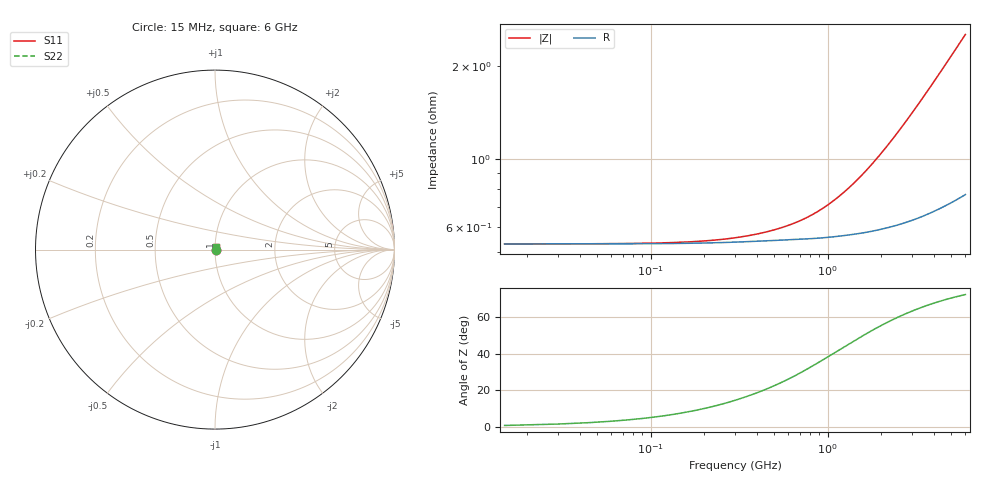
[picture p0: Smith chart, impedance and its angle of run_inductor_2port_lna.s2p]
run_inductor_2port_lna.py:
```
import os
import sys
sys.path.insert(0, os.path.abspath(os.path.join(os.path.dirname(__file__), 'modules')))

import modules.util_stackup_reader as stackup_reader
import modules.util_gds_reader as gds_reader
import modules.util_utilities as utilities
import modules.util_simulation_setup as simulation_setup
import modules.util_meshlines as util_meshlines

from openEMS import openEMS
import numpy as np
import matplotlib.pyplot as plt

# Model comments
# Simple inductor model, 2 port model with two via ports to substrate, full two port simulation


# ======================== workflow settings ================================

# preview model/mesh only?
# postprocess existing data without re-running simulation?
preview_only = False
postprocess_only = False

# ===================== input files and path settings =======================

gds_filename = "/home/ic_design_trg/lna_ihp/klayout/ind_turn3_dia100_w5_s1.gds"      # geometries
XML_filename = "SG13G2.xml"               # stackup

# preprocess GDSII for safe handling of cutouts/holes?
preprocess_gds = False

# merge via polygons with distance less than .. um, set 0 to disable via merging
merge_polygon_size = 1.0

# get path for this simulation file
script_path = utilities.get_script_path(__file__)

# use script filename as model basename
model_basename = utilities.get_basename(__file__)

# set and create directory for simulation output
sim_path = utilities.create_sim_path (script_path,model_basename)
print('Simulation data directory: ', sim_path)

# change current path to model script path
os.chdir(os.path.dirname(os.path.abspath(__file__)))


# ======================== simulation settings ================================

unit   = 1e-6   # geometry is in microns
margin = 200    # distance in microns from GDSII geometry boundary to simulation boundary 

fstart = 0
fstop  = 6e9
numfreq = 401

refined_cellsize = 1.0  # mesh cell size in conductor region

# choices for boundary: 
# 'PEC' : perfect electric conductor (default)
# 'PMC' : perfect magnetic conductor, useful for symmetries
# 'MUR' : simple MUR absorbing boundary conditions
# 'PML_8' : PML absorbing boundary conditions
Boundaries = ['PEC', 'PEC', 'PEC', 'PEC', 'PEC', 'PEC']

cells_per_wavelength = 20   # how many mesh cells per wavelength, must be 10 or more
energy_limit = -50          # end criteria for residual energy (dB)

# ports from GDSII Data, polygon geometry from specified special layer
# note that for multiport simulation, excitations are switched on/off in simulation_setup.createSimulation below
simulation_ports = simulation_setup.all_simulation_ports()
# instead of in-plane port specified with target_layername, we here use via port specified with from_layername and to_layername
simulation_ports.add_port(simulation_setup.simulation_port(portnumber=1, voltage=1, port_Z0=50, source_layernum=201, from_layername='SUBGND', to_layername='TopMetal1', direction='z'))
simulation_ports.add_port(simulation_setup.simulation_port(portnumber=2, voltage=1, port_Z0=50, source_layernum=202, from_layername='SUBGND', to_layername='TopMetal1', direction='z'))

# ======================== simulation ================================

# get technology stackup data
materials_list, dielectrics_list, metals_list = stackup_reader.read_substrate (XML_filename)
# get list of layers from technology
layernumbers = metals_list.getlayernumbers()
layernumbers.extend(simulation_ports.portlayers)

# read geometries from GDSII, only purpose 0
allpolygons = gds_reader.read_gds(gds_filename, layernumbers, purposelist=[0], metals_list=metals_list, preprocess=preprocess_gds, merge_polygon_size=merge_polygon_size)


# calculate maximum cellsize from wavelength in dielectric
wavelength_air = 3e8/fstop / unit
max_cellsize = (wavelength_air)/(np.sqrt(materials_list.eps_max)*cells_per_wavelength) 


########### create model, run and post-process ###########

FDTD = openEMS(EndCriteria=np.exp(energy_limit/10 * np.log(10)))
FDTD.SetGaussExcite( (fstart+fstop)/2, (fstop-fstart)/2 )
FDTD.SetBoundaryCond( Boundaries )


# Create simulation for port 1 and 2 excitation, return value is list of data paths, one for each excitation
data_paths = []
for excite_ports in [[1],[2]]:  # list of ports that are excited one after another
    FDTD = simulation_setup.setupSimulation (excite_ports, 
                                             simulation_ports, 
                                             FDTD, 
                                             materials_list, 
                                             dielectrics_list, 
                                             metals_list, 
                                             allpolygons, 
                                             max_cellsize, 
                                             refined_cellsize, 
                                             margin, 
                                             unit, 
                                             xy_mesh_function=util_meshlines.create_xy_mesh_from_polygons)

    data_paths.append(simulation_setup.runSimulation (excite_ports, FDTD, sim_path, model_basename, preview_only, postprocess_only))


if preview_only==False:

    print('Begin data evaluation')

    # define dB function for S-parameters
    def dB(value):
        return 20.0*np.log10(np.abs(value))        

    # define phase function for S-parameters
    def phase(value):
        return np.angle(value, deg=True) 

    f = np.linspace(fstart,fstop,numfreq)

    # get results, CSX port definition is read from simulation ports object
    # S12, S22 is available because we have simulated both port1 and port2  excitation
    s11 = utilities.calculate_Sij (1, 1, f, sim_path, simulation_ports)
    s21 = utilities.calculate_Sij (2, 1, f, sim_path, simulation_ports)
    s12 = utilities.calculate_Sij (1, 2, f, sim_path, simulation_ports)
    s22 = utilities.calculate_Sij (2, 2, f, sim_path, simulation_ports)

    s2p_name = os.path.join(sim_path, model_basename + '.s2p')
    utilities.write_snp (np.array([[s11, s21],[s12,s22]]),f, s2p_name)

    # calculate inductor parameters using Z parameters
    z11 = utilities.calculate_Zij_2port (1, 1, f, sim_path, simulation_ports)
    z21 = utilities.calculate_Zij_2port (2, 1, f, sim_path, simulation_ports)
    z12 = utilities.calculate_Zij_2port (1, 2, f, sim_path, simulation_ports)
    z22 = utilities.calculate_Zij_2port (2, 2, f, sim_path, simulation_ports)

    # ignore divide by zero warning during inductor calculation at DC
    np.seterr(divide='ignore', invalid='ignore')
    
    zdiff = z11-z12-z21+z22
    omega = 2*np.pi*f
    Qdiff = zdiff.imag/zdiff.real
    Ldiff = zdiff.imag/omega
    Rdiff = zdiff.real

    # print some inductor data
    # get series L and series R at frequency of interest
    targetfreq = 1.2e9
    findex = np.where (f>=targetfreq)[0]
    findex = findex.item(0)

    print('\nDifferential inductor parameters')
    
    print(f"Frequency [GHz]: {f[findex]/1e9:.3f}")  
    print(f"Series L  [nH] : {Ldiff[findex]*1e9:.3f}")  
    print(f"Series R  [Ohm]: {Rdiff[findex]:.3f}") 
    print(f"Q factor       : {Qdiff[findex]:.2f}")  
    print('----------------------')
    print(f"L_DC      [nH] : {Ldiff[1]*1e9:.3f}") 
    print(f"R_DC      [Ohm]: {Rdiff[0]:.3f}")  
    print(f"Peak Q         : {max(Qdiff):.2f}") 

    print('\nStarting plots')

        
    fig, axis = plt.subplots(num="Return Loss", tight_layout=True)
    axis.plot(f/1e9, dB(s11), 'k-',  linewidth=2, label='S11 (dB)')
    axis.plot(f/1e9, dB(s22), 'r--', linewidth=2, label='S22 (dB)')
    axis.grid()
    axis.set_xmargin(0)
    axis.set_xlabel('Frequency (GHz)')
    axis.set_title("Return Loss")
    axis.legend()
    
    fig, axis = plt.subplots(num="Insertion Loss", tight_layout=True)
    axis.plot(f/1e9, dB(s21), 'k-',  linewidth=2, label='S21 (dB)')
    axis.plot(f/1e9, dB(s12), 'r--', linewidth=2, label='S12 (dB)')
    axis.grid()
    axis.set_xmargin(0)
    axis.set_xlabel('Frequency (GHz)')
    axis.set_title("Insertion Loss")
    axis.legend()

    fig, axis = plt.subplots(num="Inductance", tight_layout=True)
    axis.plot(f/1e9, Ldiff*1e9, 'k-',  linewidth=2, label='Lseries [nH]')
    axis.grid()
    axis.set_xmargin(0)
    axis.set_ylim([0, 10])
    axis.set_xlabel('Frequency (GHz)')
    axis.set_title("Inductance")
    axis.legend()


    fig, axis = plt.subplots(num="Q factor", tight_layout=True)
    axis.plot(f/1e9, Qdiff, 'k-',  linewidth=2, label='Lseries [nH]')
    axis.grid()
    axis.set_xmargin(0)
    axis.set_ylim([0, 30])
    axis.set_xlabel('Frequency (GHz)')
    axis.set_title("Q factor")
    axis.legend()

   # show all plots
    plt.show()
```
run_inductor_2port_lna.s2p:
#  Hz  S  RI  R  50
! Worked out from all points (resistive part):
!   400 points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, 15 MHz to 6 GHz, reference 50 ohm
!   read as 1/Y11, port 2 shorted: R = 530 mohm at 45 MHz
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1.5e7  0.00522 -5.68e-05  0.9947 -0.000198  0.9947 -0.000198  0.00522 -5.64e-05
1.2e8  0.00508 -0.000426  0.9945 -0.00155  0.9945 -0.00155  0.00508 -0.000423
2.4e8  0.00469 -0.000703  0.994 -0.00292  0.994 -0.00292  0.00469 -0.000696
7.2e8  0.003 0.000123  0.9921 -0.00618  0.9921 -0.00617  0.003 0.000141
8.55e8  0.00278 0.000575  0.9918 -0.00687  0.9918 -0.00685  0.00278 0.000595
9.9e8  0.00263 0.00101  0.9915 -0.00757  0.9915 -0.00754  0.00263 0.00104
1.26e9  0.00243 0.00187  0.9911 -0.00897  0.9911 -0.00894  0.00244 0.0019
2.28e9  0.00241 0.00478  0.9903 -0.0144  0.9903 -0.0143  0.00242 0.00483
3.015e9  0.00264 0.00662  0.9898 -0.0183  0.9898 -0.0183  0.00264 0.00669
4.305e9  0.0032 0.0096  0.9889 -0.0253  0.9889 -0.0252  0.00321 0.0097
6e9  0.00407 0.0132  0.9877 -0.0342  0.9878 -0.0341  0.00409 0.0133
